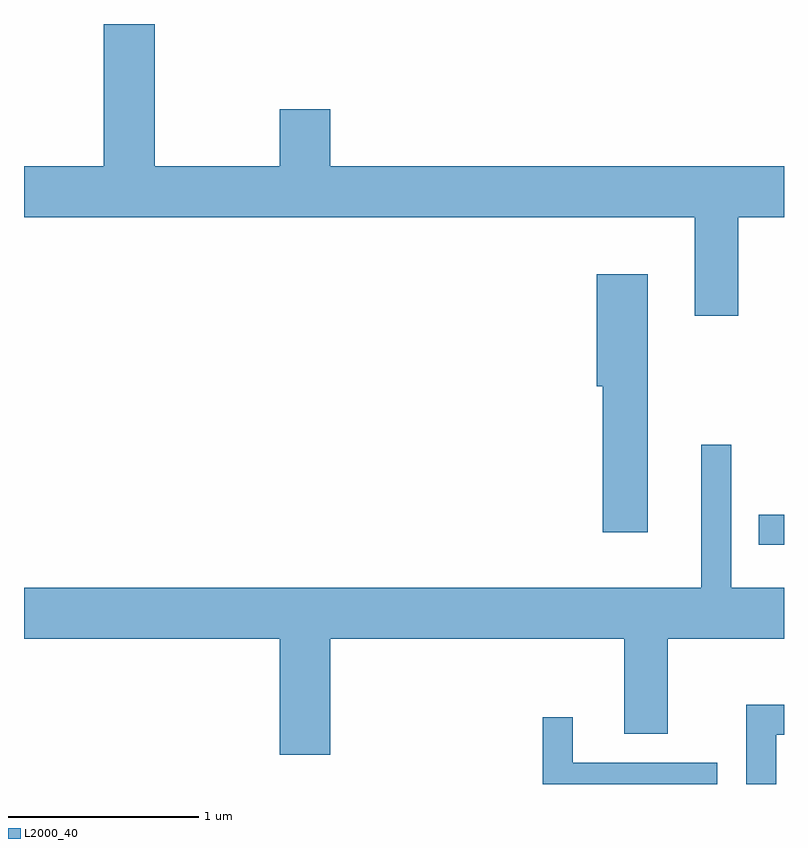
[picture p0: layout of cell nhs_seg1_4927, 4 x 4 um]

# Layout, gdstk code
import gdstk
lib = gdstk.Library(unit=1e-6, precision=1e-09)
def R(c, l, rs):  # rectangles x0, y0, x1, y1
    for r in rs: c.add(gdstk.rectangle(r[:2], r[2:], *l))
def P(c, l, *ps):  # polygons
    for p in ps: c.add(gdstk.Polygon(p, *l))
L2000_40 = (2000, 40)

nhs_seg1_4927 = lib.new_cell('nhs_seg1_4927')
R(nhs_seg1_4927, L2000_40, [(337.478,888.971,337.611,889.129)])
P(nhs_seg1_4927, L2000_40, [(337.369,890.696),(337.611,890.696),(337.611,890.964),(335.224,890.964),(335.224,891.264),(334.956,891.264),(334.956,890.964),(334.299,890.964),(334.299,891.712),(334.031,891.712),(334.031,890.964),(333.611,890.964),(333.611,890.696),(337.141,890.696),(337.141,890.176),(337.369,890.176)],
  [(336.894,890.394),(336.626,890.394),(336.626,889.806),(336.656,889.806),(336.656,889.036),(336.894,889.036)],
  [(333.611,888.476),(334.956,888.476),(334.956,887.866),(335.224,887.866),(335.224,888.476),(336.771,888.476),(336.771,887.976),(336.999,887.976),(336.999,888.476),(337.611,888.476),(337.611,888.744),(337.334,888.744),(337.334,889.498),(337.176,889.498),(337.176,888.744),(333.611,888.744)],
  [(337.569,887.971),(337.611,887.971),(337.611,888.129),(337.411,888.129),(337.411,887.712),(337.569,887.712)],
  [(337.259,887.824),(336.499,887.824),(336.499,888.063),(336.341,888.063),(336.341,887.712),(337.259,887.712)])

lib.write_gds('nhs_seg1_4927.gds')
